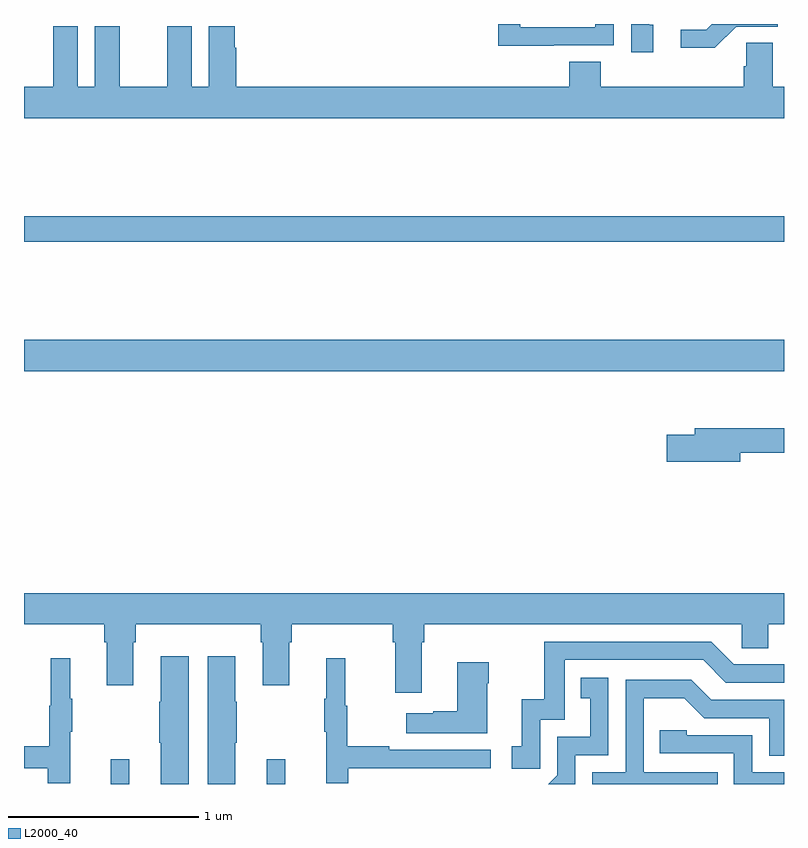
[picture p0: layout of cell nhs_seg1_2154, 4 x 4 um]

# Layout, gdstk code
import gdstk
lib = gdstk.Library(unit=1e-6, precision=1e-09)
def R(c, l, rs):  # rectangles x0, y0, x1, y1
    for r in rs: c.add(gdstk.rectangle(r[:2], r[2:], *l))
def P(c, l, *ps):  # polygons
    for p in ps: c.add(gdstk.Polygon(p, *l))
L2000_40 = (2000, 40)

nhs_seg1_2154 = lib.new_cell('nhs_seg1_2154')
R(nhs_seg1_2154, L2000_40, [(227.457,576.199,227.554,576.328), (228.278,576.199,228.375,576.328), (227,578.372,231,578.536), (227,579.052,231,579.188)])
P(nhs_seg1_2154, L2000_40, [(230.311,580.194),(230.292,580.194),(230.292,580.199),(230.196,580.199),(230.196,580.05),(230.311,580.05)],
  [(230.748,580.185),(230.967,580.185),(230.967,580.199),(230.62,580.199),(230.591,580.17),(230.457,580.17),(230.457,580.073),(230.635,580.073)],
  [(229.787,580.086),(230.103,580.086),(230.103,580.199),(230.007,580.199),(230.007,580.182),(229.611,580.182),(229.611,580.199),(229.495,580.199),(229.495,580.085),(229.787,580.085)],
  [(231,579.868),(230.941,579.868),(230.941,580.1),(230.802,580.1),(230.802,579.977),(230.789,579.977),(230.789,579.868),(230.036,579.868),(230.036,580.001),(229.871,580.001),(229.871,579.868),(228.116,579.868),(228.116,580.073),(228.109,580.073),(228.109,580.186),(227.972,580.186),(227.972,579.868),(227.884,579.868),(227.884,580.186),(227.753,580.186),(227.753,579.868),(227.503,579.868),(227.503,580.186),(227.372,580.186),(227.372,579.868),(227.284,579.868),(227.284,580.186),(227.153,580.186),(227.153,579.868),(227,579.868),(227,579.704),(231,579.704)],
  [(230.77,577.942),(231,577.942),(231,578.071),(230.531,578.071),(230.531,578.037),(230.382,578.037),(230.382,577.895),(230.77,577.895)],
  [(229.093,576.944),(229.106,576.944),(229.106,577.04),(230.778,577.04),(230.778,576.913),(230.917,576.913),(230.917,577.04),(231,577.04),(231,577.204),(227,577.204),(227,577.04),(227.423,577.04),(227.423,576.944),(227.435,576.944),(227.435,576.72),(227.575,576.72),(227.575,576.944),(227.588,576.944),(227.588,577.04),(228.245,577.04),(228.245,576.944),(228.257,576.944),(228.257,576.72),(228.397,576.72),(228.397,576.944),(228.41,576.944),(228.41,577.04),(228.941,577.04),(228.941,576.944),(228.953,576.944),(228.953,576.678),(229.093,576.678)],
  [(229.716,576.537),(229.845,576.537),(229.845,576.852),(230.574,576.852),(230.694,576.732),(231,576.732),(231,576.828),(230.736,576.828),(230.616,576.948),(229.737,576.948),(229.737,576.646),(229.619,576.646),(229.619,576.399),(229.566,576.399),(229.566,576.279),(229.716,576.279)],
  [(228.112,576.415),(228.12,576.415),(228.12,576.632),(228.112,576.632),(228.112,576.871),(227.966,576.871),(227.966,576.199),(228.112,576.199)],
  [(227.866,576.871),(227.72,576.871),(227.72,576.632),(227.713,576.632),(227.713,576.415),(227.72,576.415),(227.72,576.199),(227.866,576.199)],
  [(227.243,576.475),(227.254,576.475),(227.254,576.649),(227.243,576.649),(227.243,576.862),(227.14,576.862),(227.14,576.612),(227.133,576.612),(227.133,576.398),(227,576.398),(227,576.282),(227.125,576.282),(227.125,576.204),(227.243,576.204)],
  [(228.707,576.282),(229.456,576.282),(229.456,576.378),(228.923,576.378),(228.923,576.398),(228.7,576.398),(228.7,576.612),(228.692,576.612),(228.692,576.862),(228.59,576.862),(228.59,576.649),(228.579,576.649),(228.579,576.475),(228.59,576.475),(228.59,576.204),(228.707,576.204)],
  [(229.438,576.728),(229.446,576.728),(229.446,576.841),(229.28,576.841),(229.28,576.581),(229.154,576.581),(229.154,576.571),(229.011,576.571),(229.011,576.467),(229.438,576.467)],
  [(229.902,576.351),(230.076,576.351),(230.076,576.757),(229.93,576.757),(229.93,576.651),(229.979,576.651),(229.979,576.447),(229.806,576.447),(229.806,576.246),(229.759,576.199),(229.902,576.199)],
  [(230.651,576.261),(230.262,576.261),(230.262,576.65),(230.476,576.65),(230.58,576.546),(230.922,576.546),(230.922,576.348),(231,576.348),(231,576.642),(230.617,576.642),(230.512,576.747),(230.166,576.747),(230.166,576.261),(229.992,576.261),(229.992,576.199),(230.651,576.199)],
  [(231,576.261),(230.832,576.261),(230.832,576.456),(230.487,576.456),(230.487,576.483),(230.347,576.483),(230.347,576.36),(230.736,576.36),(230.736,576.199),(231,576.199)])

lib.write_gds('nhs_seg1_2154.gds')
